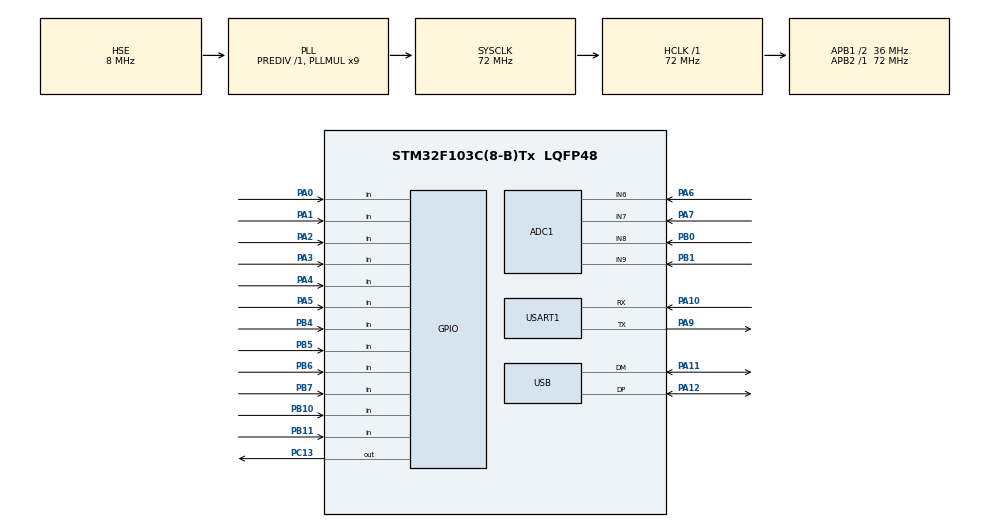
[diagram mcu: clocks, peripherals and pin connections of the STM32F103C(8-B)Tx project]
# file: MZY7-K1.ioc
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ADC1.Channel-0\#ChannelRegularConversion=ADC_CHANNEL_6
ADC1.Channel-10\#ChannelRegularConversion=ADC_CHANNEL_VREFINT
ADC1.Channel-6\#ChannelRegularConversion=ADC_CHANNEL_7
ADC1.Channel-7\#ChannelRegularConversion=ADC_CHANNEL_8
ADC1.Channel-8\#ChannelRegularConversion=ADC_CHANNEL_9
ADC1.Channel-9\#ChannelRegularConversion=ADC_CHANNEL_TEMPSENSOR
ADC1.ContinuousConvMode=ENABLE
ADC1.NbrOfConversion=6
ADC1.NbrOfConversionFlag=1
ADC1.Rank-0\#ChannelRegularConversion=1
ADC1.Rank-10\#ChannelRegularConversion=6
ADC1.Rank-6\#ChannelRegularConversion=2
ADC1.Rank-7\#ChannelRegularConversion=3
ADC1.Rank-8\#ChannelRegularConversion=4
ADC1.Rank-9\#ChannelRegularConversion=5
ADC1.SamplingTime-0\#ChannelRegularConversion=ADC_SAMPLETIME_1CYCLE_5
ADC1.SamplingTime-10\#ChannelRegularConversion=ADC_SAMPLETIME_1CYCLE_5
ADC1.SamplingTime-6\#ChannelRegularConversion=ADC_SAMPLETIME_1CYCLE_5
ADC1.SamplingTime-7\#ChannelRegularConversion=ADC_SAMPLETIME_1CYCLE_5
ADC1.SamplingTime-8\#ChannelRegularConversion=ADC_SAMPLETIME_1CYCLE_5
ADC1.SamplingTime-9\#ChannelRegularConversion=ADC_SAMPLETIME_1CYCLE_5
ADC1.master=1
Dma.ADC1.0.Direction=DMA_PERIPH_TO_MEMORY
Dma.ADC1.0.Instance=DMA1_Channel1
Dma.ADC1.0.MemDataAlignment=DMA_MDATAALIGN_HALFWORD
Dma.ADC1.0.MemInc=DMA_MINC_ENABLE
Dma.ADC1.0.Mode=DMA_CIRCULAR
Dma.ADC1.0.PeriphDataAlignment=DMA_PDATAALIGN_WORD
Dma.ADC1.0.PeriphInc=DMA_PINC_DISABLE
Dma.ADC1.0.Priority=DMA_PRIORITY_LOW
Dma.Request0=ADC1
Mcu.Family=STM32F1
Mcu.Name=STM32F103C(8-B)Tx
Mcu.Package=LQFP48
NVIC.ADC1_2_IRQn=true\:0\:0\:false\:false\:true
NVIC.DMA1_Channel1_IRQn=true\:0\:0\:false\:false\:true
NVIC.PriorityGroup=NVIC_PRIORITYGROUP_4
NVIC.USB_LP_CAN1_RX0_IRQn=true\:0\:0\:false\:false\:true
PA0-WKUP.GPIO_Mode=GPIO_MODE_INPUT
PA0-WKUP.GPIO_PuPd=GPIO_PULLUP
PA0-WKUP.Signal=GPIO_Input
PA1.GPIO_Mode=GPIO_MODE_INPUT
PA1.GPIO_PuPd=GPIO_PULLUP
PA1.Signal=GPIO_Input
PA10.Mode=Asynchronous
PA10.Signal=USART1_RX
PA11.Mode=Device
PA11.Signal=USB_DM
PA12.Mode=Device
PA12.Signal=USB_DP
PA13.Mode=Serial_Wire
PA13.Signal=SYS_JTMS-SWDIO
PA14.Mode=Serial_Wire
PA14.Signal=SYS_JTCK-SWCLK
PA2.GPIO_Mode=GPIO_MODE_INPUT
PA2.GPIO_PuPd=GPIO_PULLUP
PA2.Signal=GPIO_Input
PA3.GPIO_Mode=GPIO_MODE_INPUT
PA3.GPIO_PuPd=GPIO_PULLUP
PA3.Signal=GPIO_Input
PA4.GPIO_Mode=GPIO_MODE_INPUT
PA4.GPIO_PuPd=GPIO_PULLUP
PA4.Signal=GPIO_Input
PA5.GPIO_Mode=GPIO_MODE_INPUT
PA5.GPIO_PuPd=GPIO_PULLUP
PA5.Signal=GPIO_Input
PA6.Signal=ADCx_IN6
PA7.Signal=ADCx_IN7
PA9.Mode=Asynchronous
PA9.Signal=USART1_TX
PB0.Signal=ADCx_IN8
PB1.Signal=ADCx_IN9
PB10.Signal=GPIO_Input
PB11.Signal=GPIO_Input
PB4.Signal=GPIO_Input
PB5.Signal=GPIO_Input
PB6.Signal=GPIO_Input
PB7.Signal=GPIO_Input
PC13-TAMPER-RTC.Signal=GPIO_Output
PD0-OSC_IN.Mode=HSE-External-Oscillator
PD0-OSC_IN.Signal=RCC_OSC_IN
PD1-OSC_OUT.Mode=HSE-External-Oscillator
PD1-OSC_OUT.Signal=RCC_OSC_OUT
ProjectManager.HeapSize=0x200
ProjectManager.StackSize=0x400
ProjectManager.TargetToolchain=MDK-ARM V5
RCC.ADCPresc=RCC_ADCPCLK2_DIV6
RCC.AHBFreq_Value=72000000
RCC.APB1CLKDivider=RCC_HCLK_DIV2
RCC.APB1Freq_Value=36000000
RCC.APB1TimFreq_Value=72000000
RCC.APB2Freq_Value=72000000
RCC.APB2TimFreq_Value=72000000
RCC.HCLKFreq_Value=72000000
RCC.PLLMUL=RCC_PLL_MUL9
RCC.SYSCLKFreq_VALUE=72000000
RCC.SYSCLKSource=RCC_SYSCLKSOURCE_PLLCLK
RCC.USBFreq_Value=48000000
RCC.USBPrescaler=RCC_USBCLKSOURCE_PLL_DIV1_5
SH.ADCx_IN6.0=ADC1_IN6,IN6
SH.ADCx_IN7.0=ADC1_IN7,IN7
SH.ADCx_IN8.0=ADC1_IN8,IN8
SH.ADCx_IN9.0=ADC1_IN9,IN9
USART1.VirtualMode=VM_ASYNC
USB.ep0_mps=DEP0CTL_MPS_64
USB_DEVICE.CLASS_NAME_FS=HID
USB_DEVICE.CONFIGURATION_STRING_HID_FS=KeyPro
USB_DEVICE.MANUFACTURER_STRING=MZY7LabTechnology
USB_DEVICE.PID_HID_FS=0x1D41
USB_DEVICE.PRODUCT_STRING_HID_FS=KeyPro v1
USB_DEVICE.USBD_MAX_NUM_INTERFACES=2
USB_DEVICE.USBD_SUPPORT_USER_STRING=1
USB_DEVICE.VID=0x4d77
USB_DEVICE.VirtualMode=Hid
USB_DEVICE.VirtualModeFS=Hid_FS
VP_ADC1_TempSens_Input.Mode=IN-TempSens
VP_ADC1_Vref_Input.Mode=IN-Vrefint
VP_USB_DEVICE_VS_USB_DEVICE_HID_FS.Mode=HID_FS
board=MZY7-K1

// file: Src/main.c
/**
  ******************************************************************************
  * File Name          : main.c
  * Description        : Main program body
  ******************************************************************************
  * This notice applies to any and all portions of this file
  * that are not between comment pairs USER CODE BEGIN and
  * USER CODE END. Other portions of this file, whether
  * inserted by the user or by software development tools
  * are owned by their respective copyright owners.
  *
  * Copyright (c) 2017 STMicroelectronics International N.V.
  * All rights reserved.
  *
  * Redistribution and use in source and binary forms, with or without
  * modification, are permitted, provided that the following conditions are met:
  *
  * 1. Redistribution of source code must retain the above copyright notice,
  *    this list of conditions and the following disclaimer.
  * 2. Redistributions in binary form must reproduce the above copyright notice,
  *    this list of conditions and the following disclaimer in the documentation
  *    and/or other materials provided with the distribution.
  * 3. Neither the name of STMicroelectronics nor the names of other
  *    contributors to this software may be used to endorse or promote products
  *    derived from this software without specific written permission.
  * 4. This software, including modifications and/or derivative works of this
  *    software, must execute solely and exclusively on microcontroller or
  *    microprocessor devices manufactured by or for STMicroelectronics.
  * 5. Redistribution and use of this software other than as permitted under
  *    this license is void and will automatically terminate your rights under
  *    this license.
  *
  * THIS SOFTWARE IS PROVIDED BY STMICROELECTRONICS AND CONTRIBUTORS "AS IS"
  * AND ANY EXPRESS, IMPLIED OR STATUTORY WARRANTIES, INCLUDING, BUT NOT
  * LIMITED TO, THE IMPLIED WARRANTIES OF MERCHANTABILITY, FITNESS FOR A
  * PARTICULAR PURPOSE AND NON-INFRINGEMENT OF THIRD PARTY INTELLECTUAL PROPERTY
  * RIGHTS ARE DISCLAIMED TO THE FULLEST EXTENT PERMITTED BY LAW. IN NO EVENT
  * SHALL STMICROELECTRONICS OR CONTRIBUTORS BE LIABLE FOR ANY DIRECT, INDIRECT,
  * INCIDENTAL, SPECIAL, EXEMPLARY, OR CONSEQUENTIAL DAMAGES (INCLUDING, BUT NOT
  * LIMITED TO, PROCUREMENT OF SUBSTITUTE GOODS OR SERVICES; LOSS OF USE, DATA,
  * OR PROFITS; OR BUSINESS INTERRUPTION) HOWEVER CAUSED AND ON ANY THEORY OF
  * LIABILITY, WHETHER IN CONTRACT, STRICT LIABILITY, OR TORT (INCLUDING
  * NEGLIGENCE OR OTHERWISE) ARISING IN ANY WAY OUT OF THE USE OF THIS SOFTWARE,
  * EVEN IF ADVISED OF THE POSSIBILITY OF SUCH DAMAGE.
  *
  ******************************************************************************
  */
#include "main.h"
#include "stm32f1xx_hal.h"
#include "adc.h"
#include "dma.h"
#include "usart.h"
#include "usb_device.h"
#include "gpio.h"

/* USER CODE BEGIN Includes */
#include "usbd_hid.h"

/* USER CODE END Includes */

/* USER CODE BEGIN PV */
/* Private variables ---------------------------------------------------------*/

/* USER CODE END PV */

void SystemClock_Config(void);

/* USER CODE BEGIN PFP */
  struct msr_t {
    uint8_t buttons;
    int8_t x;
    int8_t y;
    int8_t wheel;
  };
  struct msr_t mouse;
	struct ksr_t {
		uint8_t modifiers;
    uint8_t reserved;
    uint8_t keys[6];
	};
	struct ksr_t keyboard;
/* Private function prototypes -----------------------------------------------*/

/* USER CODE END PFP */

int main(void)
{

  /* MCU Configuration----------------------------------------------------------*/

  /* Reset of all peripherals, Initializes the Flash interface and the Systick. */
  HAL_Init();

  /* Configure the system clock */
  SystemClock_Config();

  /* Initialize all configured peripherals */
  MX_GPIO_Init();
  MX_DMA_Init();
  MX_ADC1_Init();
  MX_USART1_UART_Init();
  MX_USB_DEVICE_Init();

  /* USER CODE BEGIN 2 */
	__HAL_RCC_GPIOA_CLK_ENABLE();
  /* USER CODE END 2 */

  /* Infinite loop */
  while (1)
  {

  /* USER CODE BEGIN 3 */
//		mouse.buttons=0;
//		mouse.wheel=0;
		mouse.x=10;
//		mouse.y=0;
		keyboard.keys[0]=0x10;
//		if(HAL_GPIO_ReadPin(GPIOA,GPIO_PIN_0)==1)
//		{
//			mouse.x=-10;
//		}
//		if(HAL_GPIO_ReadPin(GPIOA,GPIO_PIN_3)==1)
//		{
//			mouse.x=10;
//		}
		USBD_HID_SendReport(&hUsbDeviceFS,(uint8_t*)&mouse,sizeof(struct msr_t));
		USBD_HID_SendReport(&hUsbDeviceFS,(uint8_t*)&keyboard,sizeof(struct ksr_t));
    HAL_Delay(1000);
  }
  /* USER CODE END 3 */

}

/** System Clock Configuration
*/
void SystemClock_Config(void)
{

  RCC_OscInitTypeDef RCC_OscInitStruct;
  RCC_ClkInitTypeDef RCC_ClkInitStruct;
  RCC_PeriphCLKInitTypeDef PeriphClkInit;

    /**Initializes the CPU, AHB and APB busses clocks
    */
  RCC_OscInitStruct.OscillatorType = RCC_OSCILLATORTYPE_HSE;
  RCC_OscInitStruct.HSEState = RCC_HSE_ON;
  RCC_OscInitStruct.HSEPredivValue = RCC_HSE_PREDIV_DIV1;
  RCC_OscInitStruct.HSIState = RCC_HSI_ON;
  RCC_OscInitStruct.PLL.PLLState = RCC_PLL_ON;
  RCC_OscInitStruct.PLL.PLLSource = RCC_PLLSOURCE_HSE;
  RCC_OscInitStruct.PLL.PLLMUL = RCC_PLL_MUL9;
  if (HAL_RCC_OscConfig(&RCC_OscInitStruct) != HAL_OK)
  {
    _Error_Handler(__FILE__, __LINE__);
  }

    /**Initializes the CPU, AHB and APB busses clocks
    */
  RCC_ClkInitStruct.ClockType = RCC_CLOCKTYPE_HCLK|RCC_CLOCKTYPE_SYSCLK
                              |RCC_CLOCKTYPE_PCLK1|RCC_CLOCKTYPE_PCLK2;
  RCC_ClkInitStruct.SYSCLKSource = RCC_SYSCLKSOURCE_PLLCLK;
  RCC_ClkInitStruct.AHBCLKDivider = RCC_SYSCLK_DIV1;
  RCC_ClkInitStruct.APB1CLKDivider = RCC_HCLK_DIV2;
  RCC_ClkInitStruct.APB2CLKDivider = RCC_HCLK_DIV1;

  if (HAL_RCC_ClockConfig(&RCC_ClkInitStruct, FLASH_LATENCY_2) != HAL_OK)
  {
    _Error_Handler(__FILE__, __LINE__);
  }

  PeriphClkInit.PeriphClockSelection = RCC_PERIPHCLK_ADC|RCC_PERIPHCLK_USB;
  PeriphClkInit.AdcClockSelection = RCC_ADCPCLK2_DIV6;
  PeriphClkInit.UsbClockSelection = RCC_USBCLKSOURCE_PLL_DIV1_5;
  if (HAL_RCCEx_PeriphCLKConfig(&PeriphClkInit) != HAL_OK)
  {
    _Error_Handler(__FILE__, __LINE__);
  }

    /**Configure the Systick interrupt time
    */
  HAL_SYSTICK_Config(HAL_RCC_GetHCLKFreq()/1000);

    /**Configure the Systick
    */
  HAL_SYSTICK_CLKSourceConfig(SYSTICK_CLKSOURCE_HCLK);

  /* SysTick_IRQn interrupt configuration */
  HAL_NVIC_SetPriority(SysTick_IRQn, 0, 0);
}

void _Error_Handler(char * file, int line)
{
  while(1)
  {
  }
}

/************************ (C) COPYRIGHT STMicroelectronics *****END OF FILE****/
